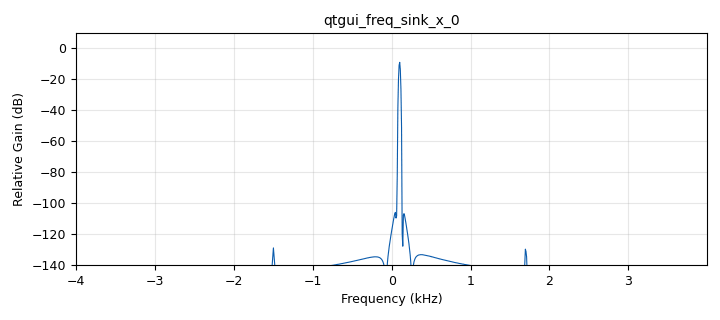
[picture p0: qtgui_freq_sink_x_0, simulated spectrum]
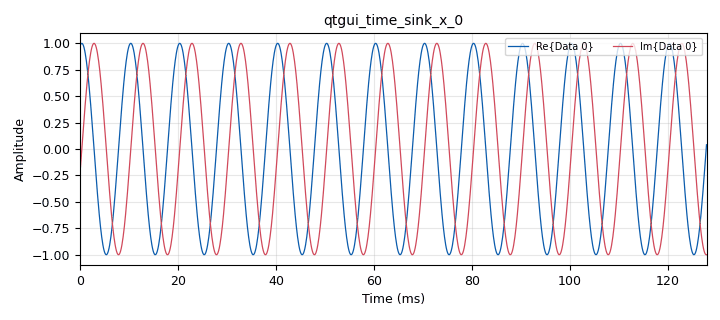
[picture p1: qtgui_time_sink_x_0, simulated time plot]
options:
  parameters:
    generate_options: qt_gui
    id: gui_1_5
    output_language: python
    title: Chapter 1
  states: {}

blocks:
- name: D
  id: variable
  parameters:
    value: '4'
  states: {}
- name: frequency
  id: variable_qtgui_range
  parameters:
    start: '0'
    step: '1'
    stop: samp_rate/2
    value: '8100'
  states: {}
- name: samp_rate
  id: variable
  parameters:
    value: '32000'
  states: {}
- name: analog_sig_source_x_1
  id: analog_sig_source_x
  parameters:
    amp: '1'
    freq: frequency
    offset: '0'
    phase: '0'
    samp_rate: samp_rate
    type: complex
    waveform: analog.GR_COS_WAVE
  states: {}
- name: blocks_keep_one_in_n_0
  id: blocks_keep_one_in_n
  parameters:
    comment: Decimate by D
    n: D
    type: complex
  states: {}
- name: blocks_throttle2_0
  id: blocks_throttle2
  parameters:
    comment: Slow down the scheduler
    samples_per_second: samp_rate
    type: complex
  states: {}
- name: qtgui_freq_sink_x_0
  id: qtgui_freq_sink_x
  parameters:
    bw: samp_rate/D
    comment: samp_rate/D
    fc: '0'
    fftsize: '1024'
    type: complex
  states: {}
- name: qtgui_time_sink_x_0
  id: qtgui_time_sink_x
  parameters:
    autoscale: 'True'
    comment: samp_rate/D
    size: '1024'
    srate: samp_rate/D
    type: complex
  states: {}

connections:
- [analog_sig_source_x_1, '0', blocks_throttle2_0, '0']
- [blocks_keep_one_in_n_0, '0', qtgui_freq_sink_x_0, '0']
- [blocks_keep_one_in_n_0, '0', qtgui_time_sink_x_0, '0']
- [blocks_throttle2_0, '0', blocks_keep_one_in_n_0, '0']

metadata:
  file_format: 1
  grc_version: 3.10.12.0
